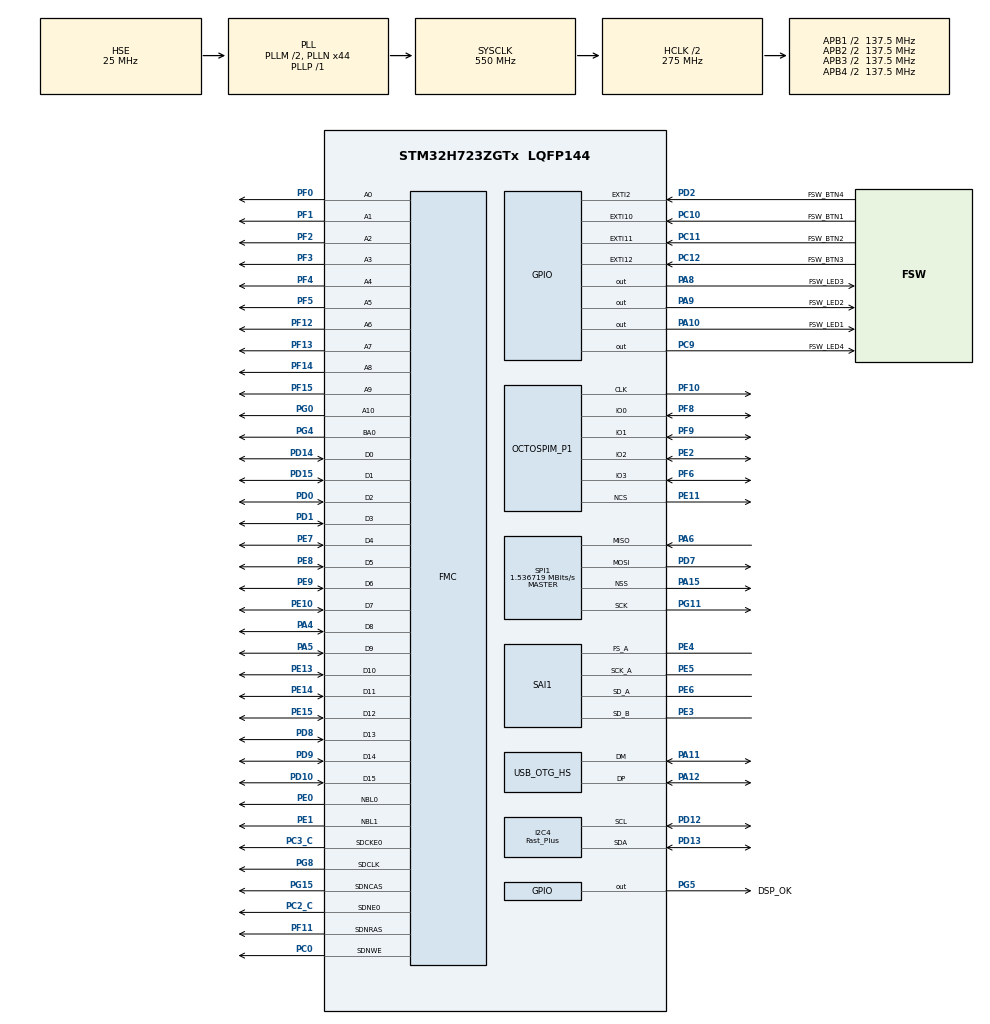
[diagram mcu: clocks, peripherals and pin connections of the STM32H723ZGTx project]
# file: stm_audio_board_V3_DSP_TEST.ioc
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CORTEX_M7.CPU_DCache=Enabled
CORTEX_M7.CPU_ICache=Enabled
CORTEX_M7.MPU_Control=__NULL
CORTEX_M7.default_mode_Activation=1
Dma.Request0=SAI1_A
Dma.Request1=SAI1_B
Dma.SAI1_A.0.Direction=DMA_MEMORY_TO_PERIPH
Dma.SAI1_A.0.EventEnable=DISABLE
Dma.SAI1_A.0.FIFOMode=DMA_FIFOMODE_DISABLE
Dma.SAI1_A.0.Instance=DMA1_Stream0
Dma.SAI1_A.0.MemDataAlignment=DMA_MDATAALIGN_WORD
Dma.SAI1_A.0.MemInc=DMA_MINC_ENABLE
Dma.SAI1_A.0.Mode=DMA_CIRCULAR
Dma.SAI1_A.0.PeriphDataAlignment=DMA_PDATAALIGN_WORD
Dma.SAI1_A.0.PeriphInc=DMA_PINC_DISABLE
Dma.SAI1_A.0.Polarity=HAL_DMAMUX_REQ_GEN_RISING
Dma.SAI1_A.0.Priority=DMA_PRIORITY_VERY_HIGH
Dma.SAI1_A.0.RequestNumber=1
Dma.SAI1_A.0.SignalID=NONE
Dma.SAI1_A.0.SyncEnable=DISABLE
Dma.SAI1_A.0.SyncPolarity=HAL_DMAMUX_SYNC_NO_EVENT
Dma.SAI1_A.0.SyncRequestNumber=1
Dma.SAI1_A.0.SyncSignalID=NONE
Dma.SAI1_B.1.Direction=DMA_PERIPH_TO_MEMORY
Dma.SAI1_B.1.EventEnable=DISABLE
Dma.SAI1_B.1.FIFOMode=DMA_FIFOMODE_DISABLE
Dma.SAI1_B.1.Instance=DMA2_Stream0
Dma.SAI1_B.1.MemDataAlignment=DMA_MDATAALIGN_WORD
Dma.SAI1_B.1.MemInc=DMA_MINC_ENABLE
Dma.SAI1_B.1.Mode=DMA_CIRCULAR
Dma.SAI1_B.1.PeriphDataAlignment=DMA_PDATAALIGN_WORD
Dma.SAI1_B.1.PeriphInc=DMA_PINC_DISABLE
Dma.SAI1_B.1.Polarity=HAL_DMAMUX_REQ_GEN_RISING
Dma.SAI1_B.1.Priority=DMA_PRIORITY_VERY_HIGH
Dma.SAI1_B.1.RequestNumber=1
Dma.SAI1_B.1.SignalID=NONE
Dma.SAI1_B.1.SyncEnable=DISABLE
Dma.SAI1_B.1.SyncPolarity=HAL_DMAMUX_SYNC_NO_EVENT
Dma.SAI1_B.1.SyncRequestNumber=1
Dma.SAI1_B.1.SyncSignalID=NONE
FMC.CASLatency1=FMC_SDRAM_CAS_LATENCY_3
FMC.ExitSelfRefreshDelay1=16
FMC.LoadToActiveDelay1=16
FMC.RCDDelay1=16
FMC.RPDelay1=16
FMC.ReadBurst1=FMC_SDRAM_RBURST_ENABLE
FMC.ReadPipeDelay1=FMC_SDRAM_RPIPE_DELAY_2
FMC.RowCycleDelay1=16
FMC.SDClockPeriod1=FMC_SDRAM_CLOCK_PERIOD_2
FMC.SelfRefreshTime1=16
FMC.WriteRecoveryTime1=16
I2C4.I2C_Speed_Mode=I2C_Fast_Plus
I2C4.OwnAddress=16
I2C4.Timing=0x00601A5C
Mcu.Family=STM32H7
Mcu.Name=STM32H723ZGTx
Mcu.Package=LQFP144
NVIC.DMA1_Stream0_IRQn=true\:0\:0\:false\:false\:true\:false\:true\:true
NVIC.DMA2_Stream0_IRQn=true\:0\:0\:false\:false\:true\:false\:true\:true
NVIC.EXTI15_10_IRQn=true\:0\:0\:false\:false\:true\:true\:true\:true
NVIC.EXTI2_IRQn=true\:0\:0\:false\:false\:true\:true\:true\:true
NVIC.I2C4_ER_IRQn=true\:0\:0\:false\:false\:true\:true\:true\:true
NVIC.I2C4_EV_IRQn=true\:0\:0\:false\:false\:true\:true\:true\:true
NVIC.OTG_HS_IRQn=true\:0\:0\:false\:false\:true\:false\:true\:true
NVIC.PriorityGroup=NVIC_PRIORITYGROUP_4
NVIC.TIM2_IRQn=true\:0\:0\:false\:false\:true\:true\:true\:true
OCTOSPI1.ClockPrescaler=4
OCTOSPI1.DeviceSize=24
OCTOSPI1.FifoThreshold=4
OCTOSPI1.SampleShifting=HAL_OSPI_SAMPLE_SHIFTING_HALFCYCLE
PA10.GPIO_Label=FSW_LED1
PA10.Signal=GPIO_Output
PA11.Mode=Device_Only_FS
PA11.Signal=USB_OTG_HS_DM
PA12.Mode=Device_Only_FS
PA12.Signal=USB_OTG_HS_DP
PA15(JTDI).Mode=NSS_Signal_Hard_Output
PA15(JTDI).Signal=SPI1_NSS
PA4.Signal=FMC_D8_DA8
PA5.Signal=FMC_D9_DA9
PA6.Mode=Full_Duplex_Master
PA6.Signal=SPI1_MISO
PA8.GPIO_Label=FSW_LED3
PA8.Signal=GPIO_Output
PA9.GPIO_Label=FSW_LED2
PA9.Signal=GPIO_Output
PC0.GPIO_PuPd=GPIO_NOPULL
PC0.Signal=FMC_SDNWE
PC10.GPIO_Label=FSW_BTN1
PC10.GPIO_ModeDefaultEXTI=GPIO_MODE_IT_RISING_FALLING
PC10.Signal=GPXTI10
PC11.GPIO_Label=FSW_BTN2
PC11.GPIO_ModeDefaultEXTI=GPIO_MODE_IT_RISING_FALLING
PC11.Signal=GPXTI11
PC12.GPIO_Label=FSW_BTN3
PC12.GPIO_ModeDefaultEXTI=GPIO_MODE_IT_RISING_FALLING
PC12.Signal=GPXTI12
PC2_C.GPIO_PuPd=GPIO_NOPULL
PC2_C.Mode=SdramChipSelect1_1
PC2_C.Signal=FMC_SDNE0
PC3_C.GPIO_PuPd=GPIO_NOPULL
PC3_C.Mode=SdramChipSelect1_1
PC3_C.Signal=FMC_SDCKE0
PC9.GPIO_Label=FSW_LED4
PC9.Signal=GPIO_Output
PD0.Signal=FMC_D2_DA2
PD1.Signal=FMC_D3_DA3
PD10.Signal=FMC_D15_DA15
PD12.GPIO_Pu=GPIO_PULLUP
PD12.GPIO_Speed=GPIO_SPEED_FREQ_VERY_HIGH
PD12.Mode=I2C
PD12.Signal=I2C4_SCL
PD13.GPIO_Pu=GPIO_PULLUP
PD13.GPIO_Speed=GPIO_SPEED_FREQ_VERY_HIGH
PD13.Mode=I2C
PD13.Signal=I2C4_SDA
PD14.Signal=FMC_D0_DA0
PD15.Signal=FMC_D1_DA1
PD2.GPIO_Label=FSW_BTN4
PD2.GPIO_ModeDefaultEXTI=GPIO_MODE_IT_RISING_FALLING
PD2.Signal=GPXTI2
PD7.Mode=Full_Duplex_Master
PD7.Signal=SPI1_MOSI
PD8.Signal=FMC_D13_DA13
PD9.Signal=FMC_D14_DA14
PE0.GPIO_PuPd=GPIO_NOPULL
PE0.Signal=FMC_NBL0
PE1.GPIO_PuPd=GPIO_NOPULL
PE1.Signal=FMC_NBL1
PE10.Signal=FMC_D7_DA7
PE11.Mode=OCTOSPI1_Port1_NCS
PE11.Signal=OCTOSPIM_P1_NCS
PE13.Signal=FMC_D10_DA10
PE14.Signal=FMC_D11_DA11
PE15.Signal=FMC_D12_DA12
PE2.Mode=OCTOSPI1_IOL_Port1L
PE2.Signal=OCTOSPIM_P1_IO2
PE3.Mode=SAI_B_SyncSlave
PE3.Signal=SAI1_SD_B
PE4.Mode=SAI_A_Master
PE4.Signal=SAI1_FS_A
PE5.Mode=SAI_A_Master
PE5.Signal=SAI1_SCK_A
PE6.Mode=SAI_A_Master
PE6.Signal=SAI1_SD_A
PE7.Signal=FMC_D4_DA4
PE8.Signal=FMC_D5_DA5
PE9.Signal=FMC_D6_DA6
PF0.Signal=FMC_A0
PF1.Signal=FMC_A1
PF10.Mode=O1_P1_CLK
PF10.Signal=OCTOSPIM_P1_CLK
PF11.GPIO_PuPd=GPIO_NOPULL
PF11.Signal=FMC_SDNRAS
PF12.Signal=FMC_A6
PF13.Signal=FMC_A7
PF14.Signal=FMC_A8
PF15.Signal=FMC_A9
PF2.Signal=FMC_A2
PF3.Signal=FMC_A3
PF4.Signal=FMC_A4
PF5.Signal=FMC_A5
PF6.Mode=OCTOSPI1_IOL_Port1L
PF6.Signal=OCTOSPIM_P1_IO3
PF8.Mode=OCTOSPI1_IOL_Port1L
PF8.Signal=OCTOSPIM_P1_IO0
PF9.Mode=OCTOSPI1_IOL_Port1L
PF9.Signal=OCTOSPIM_P1_IO1
PG0.Signal=FMC_A10
PG11.Mode=Full_Duplex_Master
PG11.Signal=SPI1_SCK
PG15.GPIO_PuPd=GPIO_NOPULL
PG15.Signal=FMC_SDNCAS
PG4.GPIO_PuPd=GPIO_NOPULL
PG4.Signal=FMC_A14_BA0
PG5.GPIO_Label=DSP_OK
PG5.GPIO_ModeDefaultOutputPP=GPIO_MODE_OUTPUT_PP
PG5.GPIO_PuPd=GPIO_PULLUP
PG5.PinState=GPIO_PIN_SET
PG5.Signal=GPIO_Output
PG8.GPIO_PuPd=GPIO_NOPULL
PG8.Signal=FMC_SDCLK
PH0-OSC_IN.Mode=HSE-External-Oscillator
PH0-OSC_IN.Signal=RCC_OSC_IN
PH1-OSC_OUT.Mode=HSE-External-Oscillator
PH1-OSC_OUT.Signal=RCC_OSC_OUT
ProjectManager.HeapSize=0x2000
ProjectManager.StackSize=0x4000
ProjectManager.TargetToolchain=STM32CubeIDE
RCC.ADCFreq_Value=50390625
RCC.APB1Freq_Value=137500000
RCC.APB2Freq_Value=137500000
RCC.APB3Freq_Value=137500000
RCC.APB4Freq_Value=137500000
RCC.CortexFreq_Value=550000000
RCC.D1PPRE=RCC_APB3_DIV2
RCC.D2PPRE1=RCC_APB1_DIV2
RCC.D2PPRE2=RCC_APB2_DIV2
RCC.D3PPRE=RCC_APB4_DIV2
RCC.DIVM1=2
RCC.DIVM3=5
RCC.DIVN1=44
RCC.DIVN3=157
RCC.DIVP1=1
RCC.DIVP3=8
RCC.HCLKFreq_Value=275000000
RCC.HPRE=RCC_HCLK_DIV2
RCC.PLL2FRACN=0
RCC.PLL3FRACN=2950
RCC.PLLFRACN=0
RCC.PLLSourceVirtual=RCC_PLLSOURCE_HSE
RCC.PWR_Regulator_Voltage_Scale=PWR_REGULATOR_VOLTAGE_SCALE0
RCC.SAI1CLockSelection=RCC_SAI1CLKSOURCE_PLL3
RCC.SPI123CLockSelection=RCC_SPI123CLKSOURCE_PLL3
RCC.SYSCLKFreq_VALUE=550000000
RCC.SYSCLKSource=RCC_SYSCLKSOURCE_PLLCLK
RCC.USBCLockSelection=RCC_USBCLKSOURCE_HSI48
RCC.USBFreq_Value=48000000
SAI1.AudioFrequency-SAI_A_Master=SAI_AUDIO_FREQUENCY_48K
SAI1.BasicDataSize-SAI_A_Master=SAI_PROTOCOL_DATASIZE_24BIT
SAI1.BasicDataSize-SAI_B_SyncSlave=SAI_PROTOCOL_DATASIZE_24BIT
SAI1.BasicSlotNumber-SAI_A_Master=8
SAI1.BasicSlotNumber-SAI_B_SyncSlave=8
SAI1.ErrorAudioFreq-SAI_A_Master=0.04 %
SAI1.InitProtocol-SAI_A_Master=Enable
SAI1.InitProtocol-SAI_B_SyncSlave=Enable
SAI1.Instance-SAI_A_Master=SAI$Index_Block_A
SAI1.Instance-SAI_B_SyncSlave=SAI$Index_Block_B
SAI1.MckOutput-SAI_A_Master=SAI_MCK_OUTPUT_DISABLE
SAI1.RealAudioFreq-SAI_A_Master=48.022 KHz
SAI1.VirtualMode-SAI_A_Master=VM_MASTER
SAI1.VirtualMode-SAI_B_SyncSlave=VM_SLAVE
SAI1.VirtualProtocol-SAI_A_BASIC=VM_BASIC_PROTOCOL
SAI1.VirtualProtocol-SAI_B_BASIC=VM_BASIC_PROTOCOL
SH.FMC_A0.0=FMC_A0,11b-sda1
SH.FMC_A1.0=FMC_A1,11b-sda1
SH.FMC_A10.0=FMC_A10,11b-sda1
SH.FMC_A14_BA0.0=FMC_BA0,TwoSdramBanks1
SH.FMC_A2.0=FMC_A2,11b-sda1
SH.FMC_A3.0=FMC_A3,11b-sda1
SH.FMC_A4.0=FMC_A4,11b-sda1
SH.FMC_A5.0=FMC_A5,11b-sda1
SH.FMC_A6.0=FMC_A6,11b-sda1
SH.FMC_A7.0=FMC_A7,11b-sda1
SH.FMC_A8.0=FMC_A8,11b-sda1
SH.FMC_A9.0=FMC_A9,11b-sda1
SH.FMC_D0_DA0.0=FMC_D0,sd-16b-d1
SH.FMC_D10_DA10.0=FMC_D10,sd-16b-d1
SH.FMC_D11_DA11.0=FMC_D11,sd-16b-d1
SH.FMC_D12_DA12.0=FMC_D12,sd-16b-d1
SH.FMC_D13_DA13.0=FMC_D13,sd-16b-d1
SH.FMC_D14_DA14.0=FMC_D14,sd-16b-d1
SH.FMC_D15_DA15.0=FMC_D15,sd-16b-d1
SH.FMC_D1_DA1.0=FMC_D1,sd-16b-d1
SH.FMC_D2_DA2.0=FMC_D2,sd-16b-d1
SH.FMC_D3_DA3.0=FMC_D3,sd-16b-d1
SH.FMC_D4_DA4.0=FMC_D4,sd-16b-d1
SH.FMC_D5_DA5.0=FMC_D5,sd-16b-d1
SH.FMC_D6_DA6.0=FMC_D6,sd-16b-d1
SH.FMC_D7_DA7.0=FMC_D7,sd-16b-d1
SH.FMC_D8_DA8.0=FMC_D8,sd-16b-d1
SH.FMC_D9_DA9.0=FMC_D9,sd-16b-d1
SH.FMC_NBL0.0=FMC_NBL0,Sd2ByteEnable1
SH.FMC_NBL1.0=FMC_NBL1,Sd2ByteEnable1
SH.FMC_SDCLK.0=FMC_SDCLK,11b-sda1
SH.FMC_SDNCAS.0=FMC_SDNCAS,11b-sda1
SH.FMC_SDNRAS.0=FMC_SDNRAS,11b-sda1
SH.FMC_SDNWE.0=FMC_SDNWE,11b-sda1
SPI1.BaudRatePrescaler=SPI_BAUDRATEPRESCALER_64
SPI1.CalculateBaudRate=1.536719 MBits/s
SPI1.DataSize=SPI_DATASIZE_8BIT
SPI1.Direction=SPI_DIRECTION_2LINES
SPI1.Mode=SPI_MODE_MASTER
SPI1.VirtualNSS=VM_NSSHARD
SPI1.VirtualType=VM_MASTER
TIM2.Period=999
TIM2.Prescaler=137
USB_DEVICE.CLASS_NAME_HS=CDC
USB_DEVICE.MANUFACTURER_STRING=SABeffects
USB_DEVICE.PRODUCT_STRING_CDC_HS=SABv3
USB_DEVICE.VirtualMode=Cdc
USB_DEVICE.VirtualModeHS=Cdc_HS
USB_OTG_HS.VirtualMode-Device_Only_FS=Device_Only_FS
VP_MEMORYMAP_VS_MEMORYMAP.Mode=CurAppReg
VP_OCTOSPI1_VS_quad.Mode=quad_mode
VP_SAI1_VP_$IpInstance_SAIA_SAI_BASIC.Mode=SAI_A_BASIC
VP_SAI1_VP_$IpInstance_SAIB_SAI_BASIC.Mode=SAI_B_BASIC
VP_TIM2_VS_ClockSourceINT.Mode=Internal
VP_USB_DEVICE_VS_USB_DEVICE_CDC_HS.Mode=CDC_HS
board=custom

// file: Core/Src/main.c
/* USER CODE BEGIN Header */
/**
  ******************************************************************************
  * @file           : main.c
  * @brief          : Main program body
  ******************************************************************************
  * @attention
  *
  * Copyright (c) 2024 STMicroelectronics.
  * All rights reserved.
  *
  * This software is licensed under terms that can be found in the LICENSE file
  * in the root directory of this software component.
  * If no LICENSE file comes with this software, it is provided AS-IS.
  *
  ******************************************************************************
  */
/* USER CODE END Header */
#include "main.h"
#include "dma.h"
#include "i2c.h"
#include "octospi.h"
#include "sai.h"
#include "spi.h"
#include "tim.h"
#include "usb_device.h"
#include "gpio.h"
#include "fmc.h"

/* USER CODE BEGIN Includes */
#include "stm32h7xx_hal.h"
#include "AD1939_driver.h"
// #include "usbd_core.h"
//#include "usbd_audio.h"
// #include "usbd_desc.h"
//#include "usbd_audio_if.h"
// #include "usb_device.h"
#include "string.h"
#include <math.h>
#include "arm_math.h"

// SAB specifics------START----
// Effects libs
#include "sab_intercom.h"

#include "FLASH_SECTOR_H7.h"
#include "SAB_custom_fx.h"
#include "SAB_fx_manager.h"
#include "sdram_memory_handler.h"
#include "usb_cdc_handler.h"

// SAB specifics------END----
/* USER CODE END Includes */

void SystemClock_Config(void);
void PeriphCommonClock_Config(void);

/* USER CODE BEGIN 0 */

// IN2 - OUT1
//

// ADC4-ADC1 position in TDM I2S
#define IN1_ADC_NUM 3
#define IN2_ADC_NUM 2
#define IN3_ADC_NUM 1
#define IN4_ADC_NUM 0
// DAC position in TDM I2S
#define OUT1_DAC_NUM 7 // ok
#define OUT2_DAC_NUM 6
#define OUT3_DAC_NUM 4
#define OUT4_DAC_NUM 5

volatile uint8_t 			ADC_HALF_COMPLETE_FLAG = 0;
volatile uint8_t 			DAC_HALF_COMPLETE_FLAG = 0;
uint32_t input_i2s_buffer_au32[16];
uint32_t output_i2s_buffer_au32[16];

SAB_IO_HADRWARE_BUFFERS effects_io_port;

void HAL_SAI_TxCpltCallback(SAI_HandleTypeDef *hsai){
	DAC_HALF_COMPLETE_FLAG = 0;
	output_i2s_buffer_au32[8+OUT1_DAC_NUM] = effects_io_port.out1_i32>>8;
	output_i2s_buffer_au32[8+OUT2_DAC_NUM] = effects_io_port.out2_i32>>8;
	output_i2s_buffer_au32[8+OUT3_DAC_NUM] = effects_io_port.out3_i32>>8;
	output_i2s_buffer_au32[8+OUT4_DAC_NUM] = effects_io_port.out4_i32>>8;
  SCB_CleanDCache_by_Addr(output_i2s_buffer_au32, sizeof(output_i2s_buffer_au32)/2);
}
void HAL_SAI_TxHalfCpltCallback(SAI_HandleTypeDef *hsai){
	DAC_HALF_COMPLETE_FLAG = 1;
	output_i2s_buffer_au32[OUT1_DAC_NUM] = effects_io_port.out1_i32>>8;
	output_i2s_buffer_au32[OUT2_DAC_NUM] = effects_io_port.out2_i32>>8;
	output_i2s_buffer_au32[OUT3_DAC_NUM] = effects_io_port.out3_i32>>8;
	output_i2s_buffer_au32[OUT4_DAC_NUM] = effects_io_port.out4_i32>>8;
  SCB_CleanDCache_by_Addr(&output_i2s_buffer_au32[8], sizeof(output_i2s_buffer_au32)/2);
}

volatile uint8_t 			ADC_READY_FLAG = 0;

void HAL_SAI_RxCpltCallback(SAI_HandleTypeDef *hsai){
	ADC_HALF_COMPLETE_FLAG = 0;
	ADC_READY_FLAG = 1;
  SCB_InvalidateDCache_by_Addr(input_i2s_buffer_au32, sizeof(input_i2s_buffer_au32)/2);
	effects_io_port.in1_i32 = input_i2s_buffer_au32[8+IN1_ADC_NUM]<<8;
	effects_io_port.in2_i32 = input_i2s_buffer_au32[8+IN2_ADC_NUM]<<8;
	effects_io_port.in3_i32 = input_i2s_buffer_au32[8+IN3_ADC_NUM]<<8;
	effects_io_port.in4_i32 = input_i2s_buffer_au32[8+IN4_ADC_NUM]<<8;
}
void HAL_SAI_RxHalfCpltCallback(SAI_HandleTypeDef *hsai){
	ADC_HALF_COMPLETE_FLAG = 1;
	ADC_READY_FLAG = 1;

  	SCB_InvalidateDCache_by_Addr(&input_i2s_buffer_au32[8], sizeof(input_i2s_buffer_au32)/2);
	effects_io_port.in1_i32 = input_i2s_buffer_au32[IN1_ADC_NUM]<<8;
	effects_io_port.in2_i32 = input_i2s_buffer_au32[IN2_ADC_NUM]<<8;
	effects_io_port.in3_i32 = input_i2s_buffer_au32[IN3_ADC_NUM]<<8;
	effects_io_port.in4_i32 = input_i2s_buffer_au32[IN4_ADC_NUM]<<8;
}

#define ARRAY_SIZE 96000

/*
 * This function puts the device into DFU (bootloader mode)
 * After you entered this, you can update FW via USB.
 */
void JumpToBootloader(void)
{
	  uint32_t i=0;
	  void (*SysMemBootJump)(void);

	  /* Set the address of the entry point to bootloader */
	     volatile uint32_t BootAddr = 0x1FF09800;

	  /* Disable all interrupts */
	     __disable_irq();

	  /* Disable Systick timer */
	     SysTick->CTRL = 0;

	  /* Set the clock to the default state */
	     HAL_RCC_DeInit();

	  /* Clear Interrupt Enable Register & Interrupt Pending Register */
	     for (i=0;i<5;i++)
	     {
		  NVIC->ICER[i]=0xFFFFFFFF;
		  NVIC->ICPR[i]=0xFFFFFFFF;
	     }

	  /* Re-enable all interrupts */
	     __enable_irq();

	  /* Set up the jump to booloader address + 4 */
	     SysMemBootJump = (void (*)(void)) (*((uint32_t *) ((BootAddr + 4))));

	  /* Set the main stack pointer to the bootloader stack */
	     __set_MSP(*(uint32_t *)BootAddr);

	  /* Call the function to jump to bootloader location */
	     SysMemBootJump();

	  /* Jump is done successfully */
	     while (1)
	     {
	      /* Code should never reach this loop */
	     }
}

sab_intercom_tst 	 intercom_st __attribute__((section(".noncacheable_data")));
SAB_fx_manager_tst SAB_fx_manager_st;

/*
 * HW BTN INTERRUPT FUNCTIONS ----------------------------
 */

//volatile uint8_t enable_effect = 1;
volatile uint8_t preset_up_pressed = 0;
volatile uint8_t preset_down_pressed = 0;
volatile uint8_t fsw_btn_1_pressed __attribute__((section(".noncacheable_data"))) = 0;
volatile uint8_t fsw_btn_2_pressed __attribute__((section(".noncacheable_data"))) = 0;
// EXTI Line9 External Interrupt ISR Handler CallBackFun
void HAL_GPIO_EXTI_Callback(uint16_t GPIO_Pin)
{
    if(GPIO_Pin == FSW_BTN1_Pin) // If The INT Source Is EXTI Line9 (A9 Pin)
    {
    	fsw_btn_1_pressed = 1;
    }
    if(GPIO_Pin == FSW_BTN2_Pin) // If The INT Source Is EXTI Line9 (A9 Pin)
	{
		fsw_btn_2_pressed = 1;
	}
    if(GPIO_Pin == FSW_BTN3_Pin) // If The INT Source Is EXTI Line9 (A9 Pin)
	{
		HAL_GPIO_TogglePin(FSW_LED3_GPIO_Port, FSW_LED3_Pin); // Toggle The Output (LED) Pin
		preset_up_pressed = 1;
	}
    if(GPIO_Pin == FSW_BTN4_Pin) // If The INT Source Is EXTI Line9 (A9 Pin)
	{
		HAL_GPIO_TogglePin(FSW_LED4_GPIO_Port, FSW_LED4_Pin); // Toggle The Output (LED) Pin
		preset_down_pressed = 1;
	}
}

/*
 * I2C INTERRUPT FUNCTIONS ----------------------------
 */

#define RX_LEN 255
#define TX_LEN 255
uint8_t TX_Buffer [TX_LEN] = "ABCDEF" ; // DATA to send
volatile uint8_t RX_Buffer [RX_LEN] = "ABCDEF" ; // DATA to send
uint8_t tx_counter = 0;
uint8_t rx_counter = 0;
uint8_t commando = 0;
volatile uint8_t rx_reg = 0;

extern void HAL_I2C_ListenCpltCallback (I2C_HandleTypeDef *hi2c)
{
	HAL_I2C_EnableListen_IT(hi2c);
}

void HAL_I2C_ErrorCallback(I2C_HandleTypeDef *hi2c)
{
	if(rx_counter>0){
		intercom_st.register_addr_u8 = rx_reg;
		intercom_st.process_rx_buffer(&intercom_st, RX_Buffer, rx_counter-1);
		rx_counter = 0;
	}
	HAL_I2C_EnableListen_IT(hi2c);
}

extern void HAL_I2C_AddrCallback(I2C_HandleTypeDef *hi2c, uint8_t TransferDirection, uint16_t AddrMatchCode)
{
	if(TransferDirection == I2C_DIRECTION_TRANSMIT)
	{
		HAL_I2C_Slave_Sequential_Receive_IT(hi2c, &intercom_st.register_addr_buffer_u8, 1, I2C_FIRST_FRAME);
		rx_counter = 0;
	}
	else
	{
		intercom_st.register_addr_u8 = rx_reg;
		// if the master wants to READ the data
		HAL_I2C_Slave_Seq_Transmit_IT(hi2c, (uint8_t*)intercom_st.get_reg_data_ptr(&intercom_st), intercom_st.get_reg_data_len(&intercom_st), I2C_FIRST_AND_LAST_FRAME);
	}
}

void HAL_I2C_SlaveRxCpltCallback(I2C_HandleTypeDef *hi2c)
{
	if(0 == rx_counter){
		rx_reg = intercom_st.register_addr_buffer_u8;
	}
	HAL_I2C_Slave_Sequential_Receive_IT(hi2c, RX_Buffer+rx_counter, 1, I2C_NEXT_FRAME);
	rx_counter++;
}

void HAL_I2C_SlaveTxCpltCallback(I2C_HandleTypeDef *hi2c)
{
}

void I2C_Slave_Listen(void) {
	HAL_I2C_Slave_Receive_IT(&hi2c4, RX_Buffer, sizeof(RX_Buffer));
}

// Variables to store cycle counts
uint32_t startCycles, endCycles, totalCycles;
float32_t time_to_process_f32;

typedef struct {
    uint8_t  pressed_u8;          // 0 = OFF, 1 = ON (latched)
    uint32_t counter_ms_u32;  // last time button toggled
    uint32_t timeout_ms_u32;     // auto-off timeout (0 = disabled)
} latch_btn_tst;

// Button states
latch_btn_tst btn1_st = {0,0,500};
latch_btn_tst btn2_st = {0,0,500};
latch_btn_tst btn3_st = {0,0,500};
latch_btn_tst btn4_st = {0,0,500};

void HAL_TIM_PeriodElapsedCallback(TIM_HandleTypeDef* htim)
{
    HAL_GPIO_TogglePin(DSP_OK_GPIO_Port, DSP_OK_Pin);
}

/* USER CODE END 0 */

int main(void)
{

  /* Enable the CPU Cache */

  /* Enable I-Cache---------------------------------------------------------*/
  SCB_EnableICache();

  /* Enable D-Cache---------------------------------------------------------*/
  SCB_EnableDCache();

  /* MCU Configuration--------------------------------------------------------*/

  /* Reset of all peripherals, Initializes the Flash interface and the Systick. */
  HAL_Init();

  /* Configure the system clock */
  SystemClock_Config();

  /* Configure the peripherals common clocks */
  PeriphCommonClock_Config();

  /* Initialize all configured peripherals */
  MX_GPIO_Init();
  MX_DMA_Init();
  MX_SAI1_Init();
  MX_SPI1_Init();
  MX_FMC_Init();
  MX_OCTOSPI1_Init();
  MX_I2C4_Init();
  MX_TIM2_Init();
  MX_USB_DEVICE_Init();
  USB_CDC_Handler_Init();
  /* USER CODE BEGIN 2 */
  HAL_TIM_Base_Start_IT(&htim2);
  // init SAI interface
	HAL_SAI_Transmit_DMA(&hsai_BlockA1, (uint8_t*)output_i2s_buffer_au32, 	16);
	HAL_SAI_Receive_DMA(&hsai_BlockB1, (uint8_t*)input_i2s_buffer_au32, 	16);

  // init CODEC
	ad1939_init(&hspi1);
	init_intercom(&intercom_st, 0x10,&hi2c4);

  /* USER CODE END 2 */

  /* Infinite loop */
  /* USER CODE BEGIN WHILE */
	HAL_GPIO_WritePin(FSW_LED1_GPIO_Port, FSW_LED1_Pin, 0);
	HAL_GPIO_WritePin(FSW_LED2_GPIO_Port, FSW_LED2_Pin, 0);
	HAL_GPIO_WritePin(FSW_LED3_GPIO_Port, FSW_LED3_Pin, 0);
	HAL_GPIO_WritePin(FSW_LED4_GPIO_Port, FSW_LED4_Pin, 0);

	HAL_GPIO_WritePin(FSW_LED3_GPIO_Port, FSW_LED3_Pin, 1);
	HAL_GPIO_WritePin(FSW_LED4_GPIO_Port, FSW_LED4_Pin, 1);

	HAL_I2C_EnableListen_IT(&hi2c4);

	SAB_fx_manager_init(&SAB_fx_manager_st, &intercom_st, &effects_io_port, &fsw_btn_1_pressed, &fsw_btn_2_pressed);

    /* Enable the TRC (Trace) */
    // CoreDebug->DEMCR |= CoreDebug_DEMCR_TRCENA_Msk;

    // /* Unlock the DWT if it is locked (LAR register) */
    // // Some Cortex-M7 MCUs (including STM32H7) require this unlock sequence:
    // DWT->LAR = 0xC5ACCE55;

    // /* Reset the cycle counter */
    // DWT->CYCCNT = 0;

    // /* Enable the cycle counter */
    // DWT->CTRL |= DWT_CTRL_CYCCNTENA_Msk;
    clear_sdram_memory();
  while (1)
  {
	if(intercom_st.save_un.save_command>0){
		SAB_save_preset_to_flash(&SAB_fx_manager_st);
		intercom_st.save_un.save_command = 0;
	}
	if(intercom_st.dsp_fw_update_flg){
		JumpToBootloader();
	}

	  if(ADC_READY_FLAG){
		  ADC_READY_FLAG = 0;
		  // // Reset the counter to ensure a clean start
		  //     DWT->CYCCNT = 0;

		  //     // Record the starting cycle count
		  //     startCycles = DWT->CYCCNT;
		SAB_fx_manager_process(&SAB_fx_manager_st);
		 // Record the ending cycle count
		    // endCycles = DWT->CYCCNT;

		    // // Calculate the difference
		    // totalCycles = endCycles - startCycles;

		    // time_to_process_f32 = (float)totalCycles/550;
		if(1 == preset_down_pressed){
			preset_down_pressed = 0;
			SAB_preset_down_pressed(&SAB_fx_manager_st);
		}
		if(1 == preset_up_pressed){
			preset_up_pressed = 0;
			SAB_preset_up_pressed(&SAB_fx_manager_st);
		}

    if(fsw_btn_1_pressed){

    }

		if(fsw_btn_1_pressed | fsw_btn_2_pressed){
			SAB_fsw_pressed_callback(&SAB_fx_manager_st);
			switch (SAB_fx_manager_st.preset_mode_st.preset_mode_en)
			{
			case PRESET_MODE_A_ACTIVE:
				HAL_GPIO_WritePin(FSW_LED1_GPIO_Port, FSW_LED1_Pin, 1);
				HAL_GPIO_WritePin(FSW_LED2_GPIO_Port, FSW_LED2_Pin, 0);
				break;
			case PRESET_MODE_B_ACTIVE:
				HAL_GPIO_WritePin(FSW_LED1_GPIO_Port, FSW_LED1_Pin, 0);
				HAL_GPIO_WritePin(FSW_LED2_GPIO_Port, FSW_LED2_Pin, 1);
				break;

			default:
				HAL_GPIO_WritePin(FSW_LED1_GPIO_Port, FSW_LED1_Pin, 0);
				HAL_GPIO_WritePin(FSW_LED2_GPIO_Port, FSW_LED2_Pin, 0);
				break;
			}
			fsw_btn_1_pressed = 0;
			fsw_btn_2_pressed = 0;
		}

	  }
    /* USER CODE END WHILE */

  }
}

void SystemClock_Config(void)
{
  RCC_OscInitTypeDef RCC_OscInitStruct = {0};
  RCC_ClkInitTypeDef RCC_ClkInitStruct = {0};

  /** Supply configuration update enable
  */
  HAL_PWREx_ConfigSupply(PWR_LDO_SUPPLY);

  /** Configure the main internal regulator output voltage
  */
  __HAL_PWR_VOLTAGESCALING_CONFIG(PWR_REGULATOR_VOLTAGE_SCALE0);

  while(!__HAL_PWR_GET_FLAG(PWR_FLAG_VOSRDY)) {}

  /** Initializes the RCC Oscillators according to the specified parameters
  * in the RCC_OscInitTypeDef structure.
  */
  RCC_OscInitStruct.OscillatorType = RCC_OSCILLATORTYPE_HSI48|RCC_OSCILLATORTYPE_HSE;
  RCC_OscInitStruct.HSEState = RCC_HSE_ON;
  RCC_OscInitStruct.HSI48State = RCC_HSI48_ON;
  RCC_OscInitStruct.PLL.PLLState = RCC_PLL_ON;
  RCC_OscInitStruct.PLL.PLLSource = RCC_PLLSOURCE_HSE;
  RCC_OscInitStruct.PLL.PLLM = 2;
  RCC_OscInitStruct.PLL.PLLN = 44;
  RCC_OscInitStruct.PLL.PLLP = 1;
  RCC_OscInitStruct.PLL.PLLQ = 2;
  RCC_OscInitStruct.PLL.PLLR = 2;
  RCC_OscInitStruct.PLL.PLLRGE = RCC_PLL1VCIRANGE_3;
  RCC_OscInitStruct.PLL.PLLVCOSEL = RCC_PLL1VCOWIDE;
  RCC_OscInitStruct.PLL.PLLFRACN = 0;
  if (HAL_RCC_OscConfig(&RCC_OscInitStruct) != HAL_OK)
  {
    Error_Handler();
  }

  /** Initializes the CPU, AHB and APB buses clocks
  */
  RCC_ClkInitStruct.ClockType = RCC_CLOCKTYPE_HCLK|RCC_CLOCKTYPE_SYSCLK
                              |RCC_CLOCKTYPE_PCLK1|RCC_CLOCKTYPE_PCLK2
                              |RCC_CLOCKTYPE_D3PCLK1|RCC_CLOCKTYPE_D1PCLK1;
  RCC_ClkInitStruct.SYSCLKSource = RCC_SYSCLKSOURCE_PLLCLK;
  RCC_ClkInitStruct.SYSCLKDivider = RCC_SYSCLK_DIV1;
  RCC_ClkInitStruct.AHBCLKDivider = RCC_HCLK_DIV2;
  RCC_ClkInitStruct.APB3CLKDivider = RCC_APB3_DIV2;
  RCC_ClkInitStruct.APB1CLKDivider = RCC_APB1_DIV2;
  RCC_ClkInitStruct.APB2CLKDivider = RCC_APB2_DIV2;
  RCC_ClkInitStruct.APB4CLKDivider = RCC_APB4_DIV2;

  if (HAL_RCC_ClockConfig(&RCC_ClkInitStruct, FLASH_LATENCY_3) != HAL_OK)
  {
    Error_Handler();
  }
}

void PeriphCommonClock_Config(void)
{
  RCC_PeriphCLKInitTypeDef PeriphClkInitStruct = {0};

  /** Initializes the peripherals clock
  */
  PeriphClkInitStruct.PeriphClockSelection = RCC_PERIPHCLK_SAI1|RCC_PERIPHCLK_SPI1;
  PeriphClkInitStruct.PLL3.PLL3M = 5;
  PeriphClkInitStruct.PLL3.PLL3N = 157;
  PeriphClkInitStruct.PLL3.PLL3P = 8;
  PeriphClkInitStruct.PLL3.PLL3Q = 2;
  PeriphClkInitStruct.PLL3.PLL3R = 2;
  PeriphClkInitStruct.PLL3.PLL3RGE = RCC_PLL3VCIRANGE_2;
  PeriphClkInitStruct.PLL3.PLL3VCOSEL = RCC_PLL3VCOWIDE;
  PeriphClkInitStruct.PLL3.PLL3FRACN = 2950;
  PeriphClkInitStruct.Sai1ClockSelection = RCC_SAI1CLKSOURCE_PLL3;
  PeriphClkInitStruct.Spi123ClockSelection = RCC_SPI123CLKSOURCE_PLL3;
  if (HAL_RCCEx_PeriphCLKConfig(&PeriphClkInitStruct) != HAL_OK)
  {
    Error_Handler();
  }
}

void Error_Handler(void)
{
  /* USER CODE BEGIN Error_Handler_Debug */
	HAL_GPIO_WritePin(GPIOG, GPIO_PIN_5, GPIO_PIN_RESET);
  /* User can add his own implementation to report the HAL error return state */
  __disable_irq();
  while (1)
  {
  }
  /* USER CODE END Error_Handler_Debug */
}
